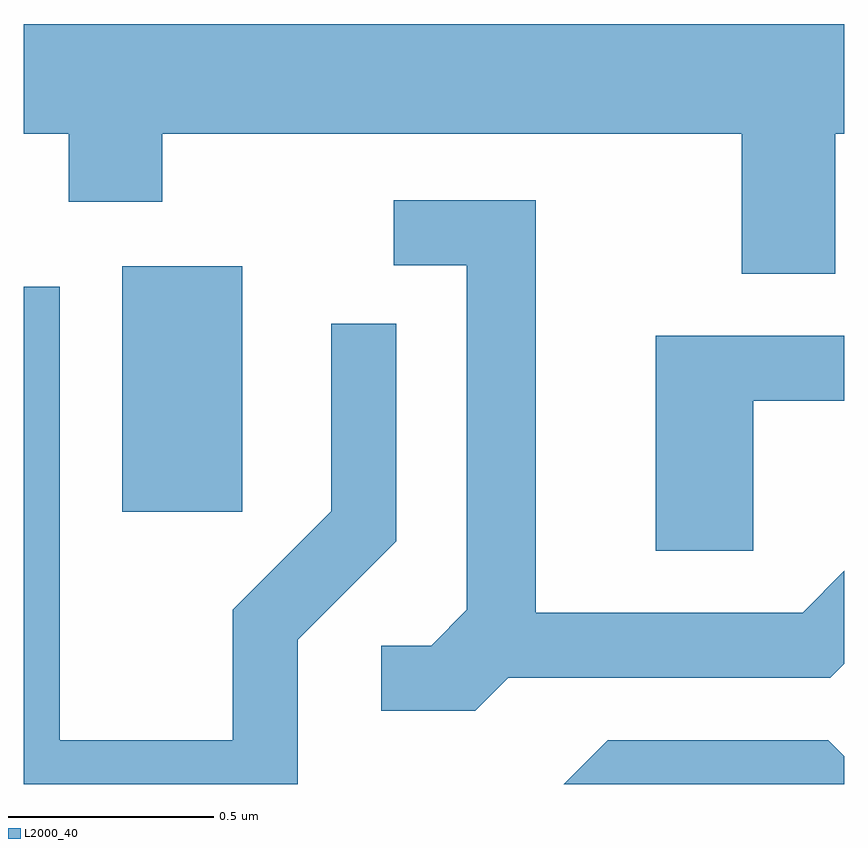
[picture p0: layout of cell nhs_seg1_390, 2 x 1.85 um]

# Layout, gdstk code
import gdstk
lib = gdstk.Library(unit=1e-6, precision=1e-09)
def R(c, l, rs):  # rectangles x0, y0, x1, y1
    for r in rs: c.add(gdstk.rectangle(r[:2], r[2:], *l))
def P(c, l, *ps):  # polygons
    for p in ps: c.add(gdstk.Polygon(p, *l))
L2000_40 = (2000, 40)

nhs_seg1_390 = lib.new_cell('nhs_seg1_390')
R(nhs_seg1_390, L2000_40, [(187.851,956.376,188.144,956.974)])
P(nhs_seg1_390, L2000_40, [(189.589,957.296),(189.611,957.296),(189.611,957.564),(187.611,957.564),(187.611,957.296),(187.721,957.296),(187.721,957.131),(187.949,957.131),(187.949,957.296),(189.361,957.296),(189.361,956.956),(189.589,956.956)],
  [(188.792,955.971),(189.577,955.971),(189.611,956.005),(189.611,956.232),(189.509,956.129),(188.859,956.129),(188.859,957.134),(188.513,957.134),(188.513,956.976),(188.691,956.976),(188.691,956.137),(188.604,956.049),(188.483,956.049),(188.483,955.891),(188.712,955.891)],
  [(188.279,956.064),(188.519,956.304),(188.519,956.833),(188.361,956.833),(188.361,956.377),(188.121,956.137),(188.121,955.819),(187.699,955.819),(187.699,956.924),(187.611,956.924),(187.611,955.712),(188.279,955.712)],
  [(189.389,956.646),(189.611,956.646),(189.611,956.804),(189.151,956.804),(189.151,956.281),(189.389,956.281)],
  [(189.611,955.78),(189.572,955.819),(189.034,955.819),(188.927,955.712),(189.611,955.712)])

lib.write_gds('nhs_seg1_390.gds')
